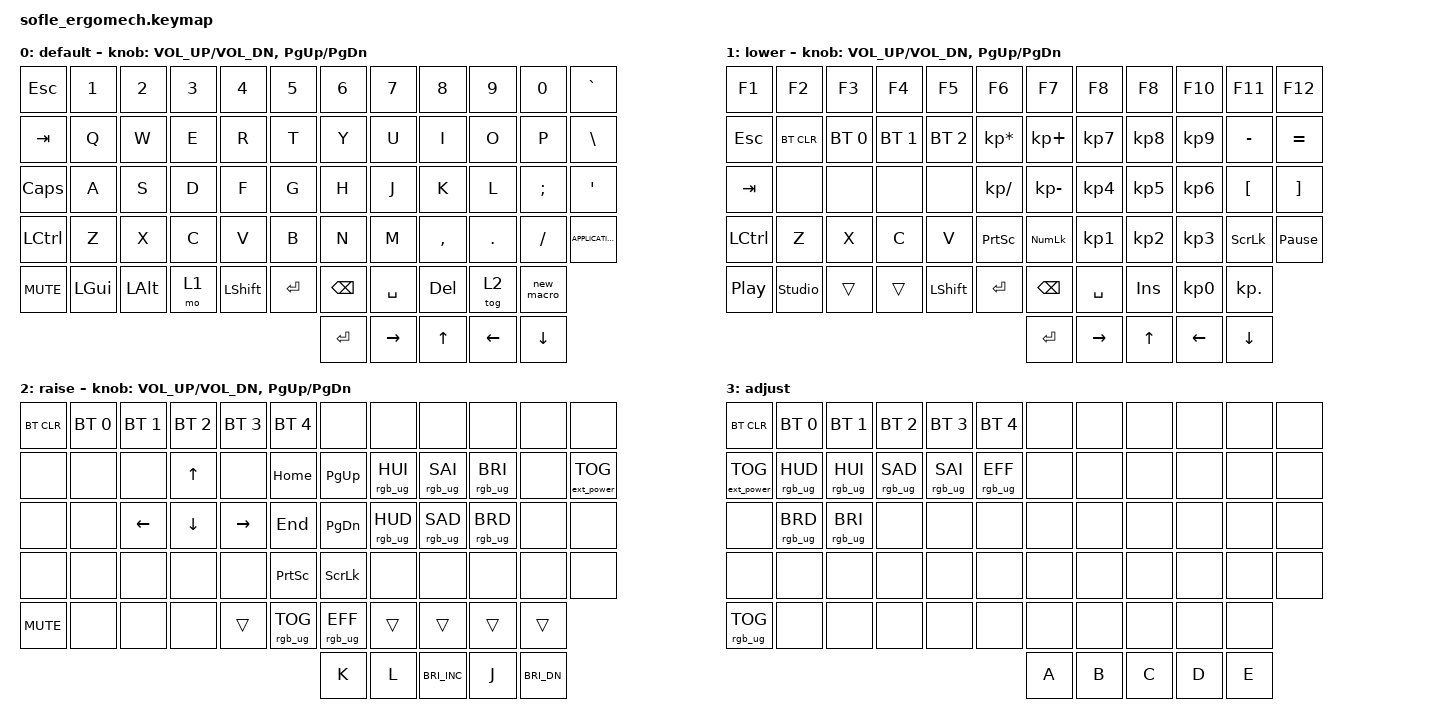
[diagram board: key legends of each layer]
/*
 * Copyright (c) 2020 The ZMK Contributors
 *
 * SPDX-License-Identifier: MIT
 */

#include <behaviors.dtsi>
#include <dt-bindings/zmk/bt.h>
#include <dt-bindings/zmk/ext_power.h>
#include <dt-bindings/zmk/keys.h>
#include <dt-bindings/zmk/rgb.h>

#define BASE 0
#define LOWER 1
#define RAISE 2
#define ADJUST 3

/ {
    // Activate ADJUST layer by pressing raise and lower

    conditional_layers {
        compatible = "zmk,conditional-layers";

        adjust_layer {
            if-layers = <1 2>;
            then-layer = <3>;
        };
    };

    macros {
        new_macro: new_macro {
            compatible = "zmk,behavior-macro";
            #binding-cells = <0>;
            bindings = <&kp NUMBER_1 &kp NUMBER_9 &kp NUMBER_9 &kp N5 &kp LS(T) &kp I &kp E &kp N &kp LS(V) &kp A &kp N &kp G &kp LESS_THAN &kp LESS_THAN &kp GREATER_THAN &kp GREATER_THAN>;
            label = "NEW_MACRO";
        };
    };

    keymap {
        compatible = "zmk,keymap";

        default_layer {
            label = "default";

            // ------------------------------------------------------------------------------------------------------------
            // |   `   |  1  |  2  |  3   |  4   |  5   |                   |  6   |  7    |  8    |  9   |   0   |       |
            // |  ESC  |  Q  |  W  |  E   |  R   |  T   |                   |  Y   |  U    |  I    |  O   |   P   | BKSPC |
            // |  TAB  |  A  |  S  |  D   |  F   |  G   |                   |  H   |  J    |  K    |  L   |   ;   |   '   |
            // | SHIFT |  Z  |  X  |  C   |  V   |  B   |  MUTE  |  |       |  N   |  M    |  ,    |  .   |   /   | SHIFT |
            //               | GUI | ALT  | CTRL | LOWER|  ENTER |  | SPACE | RAISE| CTRL  | ALT   | GUI  |

            bindings = <
&kp ESCAPE  &kp N1    &kp N2    &kp N3  &kp N4          &kp N5   &kp N6         &kp N7     &kp N8        &kp N9    &kp N0      &kp GRAVE
&kp TAB     &kp Q     &kp W     &kp E   &kp R           &kp T    &kp Y          &kp U      &kp I         &kp O     &kp P       &kp BSLH
&kp CLCK    &kp A     &kp S     &kp D   &kp F           &kp G    &kp H          &kp J      &kp K         &kp L     &kp SEMI    &kp SQT
&kp LCTRL   &kp Z     &kp X     &kp C   &kp V           &kp B    &kp N          &kp M      &kp COMMA     &kp DOT   &kp FSLH    &kp K_APPLICATION
&kp C_MUTE  &kp LGUI  &kp LALT  &mo 1   &kp LEFT_SHIFT  &kp RET  &kp BACKSPACE  &kp SPACE  &kp DEL       &tog 2    &new_macro
                                                                 &kp ENTER      &kp RIGHT  &kp UP_ARROW  &kp LEFT  &kp DOWN
            >;

            sensor-bindings = <&inc_dec_kp C_VOL_UP C_VOL_DN &inc_dec_kp PG_UP PG_DN>;
        };

        lower_layer {
            label = "lower";

            // TODO: Some binds are waiting for shifted keycode support.
            // ------------------------------------------------------------------------------------------------------------
            // |       |  F1 |  F2 |  F3  |  F4  |  F5  |                   |  F6  |  F7   |  F8   |  F9  |  F10  |  F11  |
            // |   `   |  1  |  2  |  3   |  4   |  5   |                   |  6   |  7    |  8    |  9   |   0   |  F12  |
            // |       |  !  |  @  |  #   |  $   |  %   |                   |  ^   |  &    |  *    |  (   |   )   |   |   |
            // |       |  =  |  -  |  +   |  {   |  }   |        |  |       |  [   |  ]    |  ;    |  :   |   \   |       |
            //               |     |      |      |      |        |  |       |      |       |       |      |

            bindings = <
&kp F1            &kp F2          &kp F3        &kp F4        &kp F5          &kp F6           &kp F7         &kp F8           &kp F8           &kp F10          &kp F11           &kp F12
&kp ESCAPE        &bt BT_CLR      &bt BT_SEL 0  &bt BT_SEL 1  &bt BT_SEL 2    &kp KP_MULTIPLY  &kp KP_PLUS    &kp KP_NUMBER_7  &kp KP_NUMBER_8  &kp KP_NUMBER_9  &kp MINUS         &kp EQUAL
&kp TAB           &none           &none         &none         &none           &kp KP_SLASH     &kp KP_MINUS   &kp KP_NUMBER_4  &kp KP_NUMBER_5  &kp KP_NUMBER_6  &kp LEFT_BRACKET  &kp RIGHT_BRACKET
&kp LCTRL         &kp Z           &kp X         &kp C         &kp V           &kp PRINTSCREEN  &kp KP_NUM     &kp KP_NUMBER_1  &kp KP_NUMBER_2  &kp KP_NUMBER_3  &kp SCROLLLOCK    &kp PAUSE_BREAK
&kp C_PLAY_PAUSE  &studio_unlock  &trans        &trans        &kp LEFT_SHIFT  &kp ENTER        &kp BACKSPACE  &kp SPACE        &kp INS          &kp KP_NUMBER_0  &kp KP_DOT
                                                                                               &kp ENTER      &kp RIGHT        &kp UP_ARROW     &kp LEFT_ARROW   &kp DOWN_ARROW
            >;

            sensor-bindings = <&inc_dec_kp C_VOL_UP C_VOL_DN &inc_dec_kp PG_UP PG_DN>;
        };

        raise_layer {
            label = "raise";

            // ------------------------------------------------------------------------------------------------------------
            // | BTCLR | BT1  | BT2  |  BT3  |  BT4  |  BT5 |                |      |      |       |      |       |       |
            // |       | INS  | PSCR | GUI   |       |      |                | PGUP |      |   ^   |      |       |       |
            // |       | ALT  | CTRL | SHIFT |       | CAPS |                | PGDN |   <- |   v   |  ->  |  DEL  | BKSPC |
            // |       | UNDO | CUT  | COPY  | PASTE |      |      |  |      |      |      |       |      |       |       |
            //                |      |       |       |      |      |  |      |      |      |       |      |

            bindings = <
&bt BT_CLR  &bt BT_SEL 0  &bt BT_SEL 1    &bt BT_SEL 2  &bt BT_SEL 3  &bt BT_SEL 4     &none            &none            &none                 &none            &none         &none
&none       &none         &none           &kp UP_ARROW  &none         &kp HOME         &kp PG_UP        &rgb_ug RGB_HUI  &rgb_ug RGB_SAI       &rgb_ug RGB_BRI  &none         &ext_power EP_TOG
&none       &none         &kp LEFT_ARROW  &kp DOWN      &kp RIGHT     &kp END          &kp PG_DN        &rgb_ug RGB_HUD  &rgb_ug RGB_SAD       &rgb_ug RGB_BRD  &none         &none
&none       &none         &none           &none         &none         &kp PRINTSCREEN  &kp SCROLLLOCK   &none            &none                 &none            &none         &none
&kp C_MUTE  &none         &none           &none         &trans        &rgb_ug RGB_TOG  &rgb_ug RGB_EFF  &trans           &trans                &trans           &trans
                                                                                       &kp K            &kp L            &kp C_BRIGHTNESS_INC  &kp J            &kp C_BRI_DN
            >;

            sensor-bindings = <&inc_dec_kp C_VOL_UP C_VOL_DN &inc_dec_kp PG_UP PG_DN>;
        };

        adjust_layer {
            // ----------------------------------------------------------------------------------------------------------------------------
            // | BTCLR  |  BT1    |  BT2    |   BT3   |   BT4   |   BT5   |                  |      |      |       |      |       |       |
            // | EXTPWR | RGB_HUD | RGB_HUI | RGB_SAD | RGB_SAI | RGB_EFF |                  |      |      |       |      |       |       |
            // |        | RGB_BRD | RGB_BRI |         |         |         |                  |      |      |       |      |       |       |
            // |        |         |         |         |         |         | RGB_TOG | |      |      |      |       |      |       |       |
            //                    |         |         |         |         |         | |      |      |      |       |      |

            label = "adjust";
            bindings = <
&bt BT_CLR         &bt BT_SEL 0     &bt BT_SEL 1     &bt BT_SEL 2     &bt BT_SEL 3     &bt BT_SEL 4     &none  &none  &none  &none  &none  &none
&ext_power EP_TOG  &rgb_ug RGB_HUD  &rgb_ug RGB_HUI  &rgb_ug RGB_SAD  &rgb_ug RGB_SAI  &rgb_ug RGB_EFF  &none  &none  &none  &none  &none  &none
&none              &rgb_ug RGB_BRD  &rgb_ug RGB_BRI  &none            &none            &none            &none  &none  &none  &none  &none  &none
&none              &none            &none            &none            &none            &none            &none  &none  &none  &none  &none  &none
&rgb_ug RGB_TOG    &none            &none            &none            &none            &none            &none  &none  &none  &none  &none
                                                                                                        &kp A  &kp B  &kp C  &kp D  &kp E
            >;
        };
    };
};
